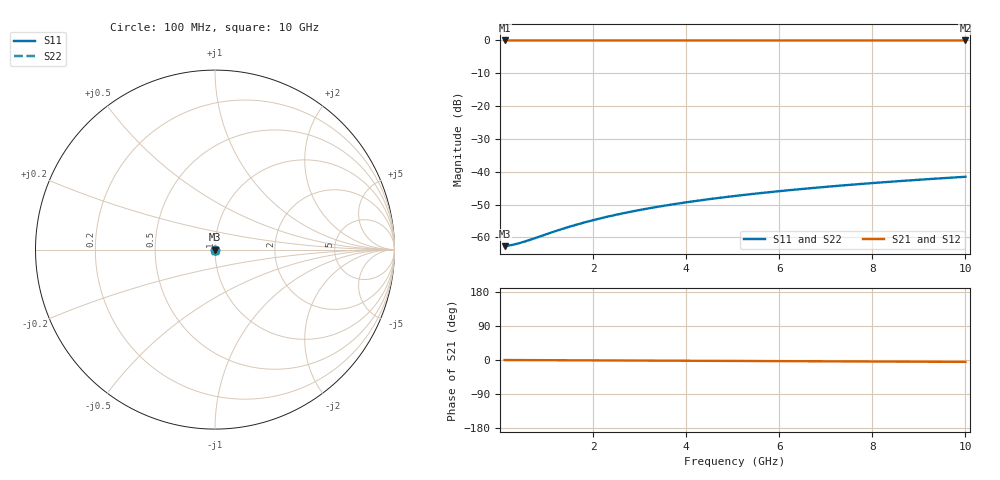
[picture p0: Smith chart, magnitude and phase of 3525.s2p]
# Hz S RI R 50.00
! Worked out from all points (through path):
!   100 points, 100 MHz to 10 GHz, reference 50 ohm
!   highest |S21| = -0.01 dB at 100 MHz (marker M1); lowest = 0.0 dB at 10 GHz (marker M2)
!   lowest |S11| = -62.7 dB at 100 MHz (marker M3), VSWR 1.00, Z = 50.1 - j0.00841 ohm
!   |S11| at or under -10 dB: start of sweep to end of sweep
!   |S22| runs from -62.7 to -41.5 dB; largest |S21 - S12| = 0
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1e8  0.000732 -8.4e-05  0.9993 -0.000867  0.9993 -0.000867  0.000732 -8.4e-05
2e8  0.000736 -0.000168  0.9993 -0.00173  0.9993 -0.00173  0.000736 -0.000168
3e8  0.000739 -0.000252  0.9993 -0.0026  0.9993 -0.0026  0.000739 -0.000252
5e8  0.000742 -0.00042  0.9992 -0.00434  0.9992 -0.00434  0.000742 -0.00042
7e8  0.000744 -0.000588  0.9992 -0.00607  0.9992 -0.00607  0.000744 -0.000588
1.3e9  0.000742 -0.00109  0.9992 -0.0113  0.9992 -0.0113  0.000742 -0.00109
1.5e9  0.00074 -0.00126  0.9991 -0.013  0.9991 -0.013  0.00074 -0.00126
1.8e9  0.000735 -0.00151  0.9991 -0.0156  0.9991 -0.0156  0.000735 -0.00151
2.1e9  0.000729 -0.00176  0.9991 -0.0182  0.9991 -0.0182  0.000729 -0.00176
2.5e9  0.000718 -0.0021  0.999 -0.0217  0.999 -0.0217  0.000718 -0.0021
2.9e9  0.000705 -0.00244  0.9989 -0.0251  0.9989 -0.0251  0.000705 -0.00244
3.4e9  0.000684 -0.00286  0.9988 -0.0295  0.9988 -0.0295  0.000684 -0.00286
3.8e9  0.000665 -0.00319  0.9986 -0.033  0.9986 -0.033  0.000665 -0.00319
4.2e9  0.000644 -0.00353  0.9985 -0.0364  0.9985 -0.0364  0.000644 -0.00353
4.6e9  0.00062 -0.00386  0.9984 -0.0399  0.9984 -0.0399  0.00062 -0.00386
5.1e9  0.000587 -0.00428  0.9982 -0.0442  0.9982 -0.0442  0.000587 -0.00428
5.9e9  0.000526 -0.00496  0.9978 -0.0512  0.9978 -0.0512  0.000526 -0.00496
6.7e9  0.000456 -0.00563  0.9974 -0.0581  0.9974 -0.0581  0.000456 -0.00563
7.5e9  0.000377 -0.0063  0.997 -0.065  0.997 -0.065  0.000377 -0.0063
8.4e9  0.000276 -0.00705  0.9965 -0.0728  0.9965 -0.0728  0.000276 -0.00705
9.2e9  0.000177 -0.00772  0.9959 -0.0798  0.9959 -0.0798  0.000177 -0.00772
1e10  6.87e-05 -0.00839  0.9953 -0.0867  0.9953 -0.0867  6.87e-05 -0.00839
